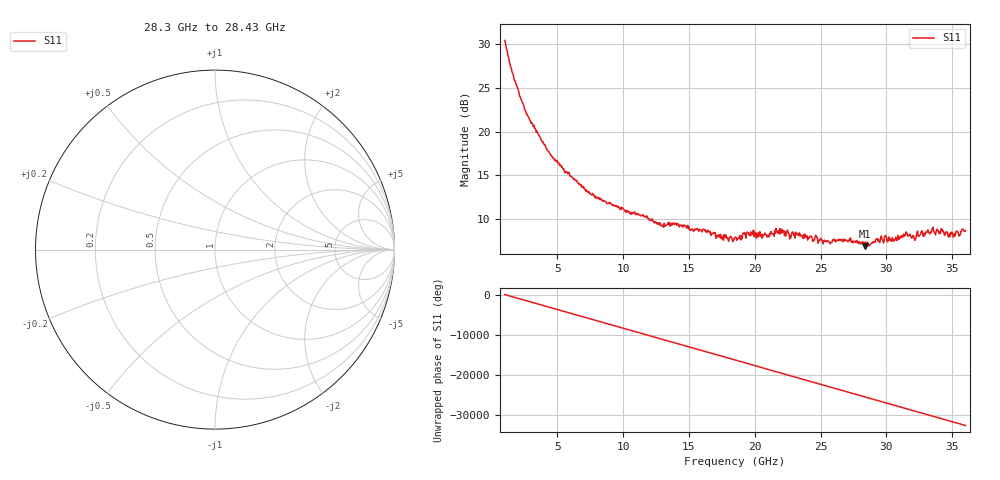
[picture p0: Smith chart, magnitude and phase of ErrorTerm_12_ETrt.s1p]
!  1-Port S-parameters saved by WinCal
! VAR NAME=2-Port LRRM (Conv to 12) labuser
! VAR Error Term Name=ETrt phys rcv port 1 phys src port 2
# Hz S RI R 50
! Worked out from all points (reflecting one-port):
!   801 points, 1 GHz to 36 GHz, reference 50 ohm
!   lowest |S11| = 6.9 dB at 28.34 GHz (marker M1)
!   phase of S11 starts at 61 deg and turns -32634 deg over the sweep
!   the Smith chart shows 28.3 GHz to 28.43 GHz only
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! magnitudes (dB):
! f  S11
! 1 GHz  30.4
! 1.7 GHz  26.2
! 2.706 GHz  22.0
! 4.325 GHz  17.8
! 5.375 GHz  16.0
! 7.431 GHz  13.1
! 9.75 GHz  11.1
! 11.63 GHz  10.3
! 12.9 GHz  9.2
! 14.12 GHz  9.5
! 17.45 GHz  7.8
! 18.5 GHz  7.9
! 19.29 GHz  8.4
! 20.99 GHz  8.1
! 22 GHz  8.7
! 22.88 GHz  8.6
! 25.68 GHz  7.4
! 27.25 GHz  7.9
! 28.34 GHz  6.9
! 28.78 GHz  7.1
! 29.79 GHz  7.3
! 30.49 GHz  7.7
! 31.62 GHz  8.1
! 32.06 GHz  8.1
! 32.5 GHz  8.1
! 33.42 GHz  8.5
! 34.91 GHz  8.3
! 36 GHz  8.7
